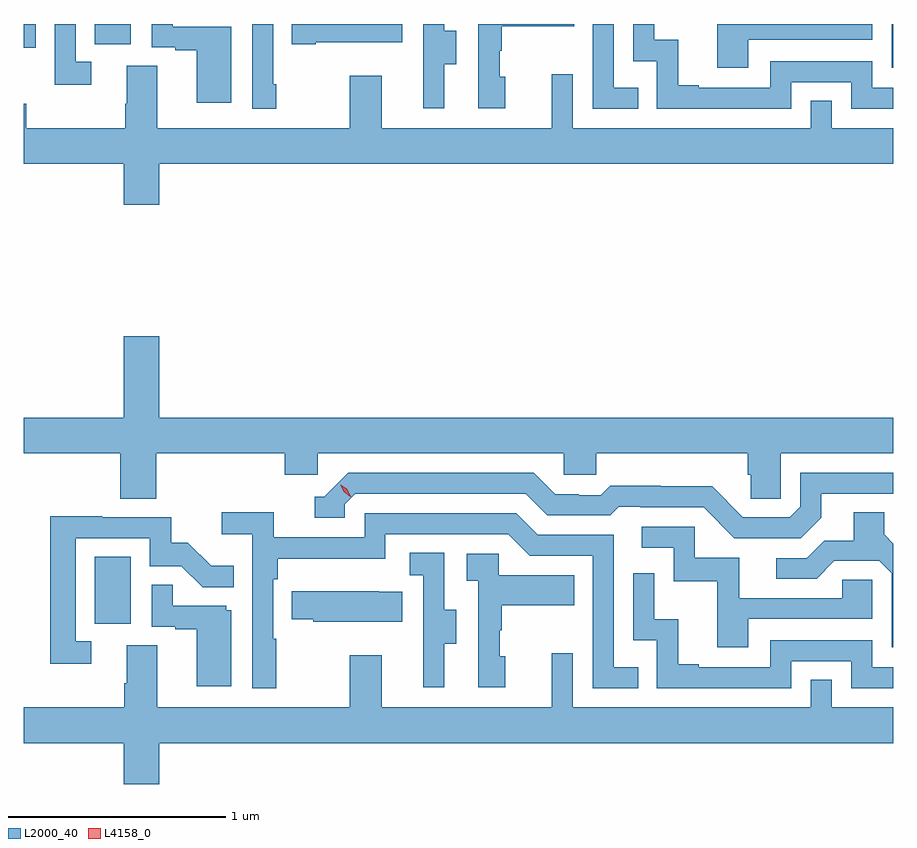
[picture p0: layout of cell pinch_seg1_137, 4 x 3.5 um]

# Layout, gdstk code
import gdstk
lib = gdstk.Library(unit=1e-6, precision=1e-09)
def R(c, l, rs):  # rectangles x0, y0, x1, y1
    for r in rs: c.add(gdstk.rectangle(r[:2], r[2:], *l))
def P(c, l, *ps):  # polygons
    for p in ps: c.add(gdstk.Polygon(p, *l))
L2000_40 = (2000, 40)
L4158_0 = (4158, 0)

pinch_seg1_137 = lib.new_cell('pinch_seg1_137')
R(pinch_seg1_137, L2000_40, [(1141.898,548.286,1142.062,548.593), (1145.562,550.842,1145.57,551.043), (1141.57,550.934,1141.627,551.043), (1141.898,550.95,1142.062,551.043)])
P(pinch_seg1_137, L2000_40, [(1143.505,550.858),(1143.559,550.858),(1143.559,551.013),(1143.504,551.013),(1143.504,551.043),(1143.408,551.043),(1143.408,550.869),(1143.407,550.869),(1143.407,550.656),(1143.505,550.656)],
  [(1142.914,550.958),(1143.311,550.958),(1143.311,551.043),(1142.803,551.043),(1142.803,550.951),(1142.914,550.951)],
  [(1144.397,550.749),(1144.284,550.749),(1144.284,551.043),(1144.188,551.043),(1144.188,550.653),(1144.397,550.653)],
  [(1142.731,550.765),(1142.718,550.765),(1142.718,551.043),(1142.622,551.043),(1142.622,550.653),(1142.731,550.653)],
  [(1144.903,550.971),(1145.472,550.971),(1145.472,551.043),(1144.759,551.043),(1144.759,550.842),(1144.903,550.842)],
  [(1143.784,550.8),(1143.759,550.8),(1143.759,550.919),(1143.769,550.919),(1143.769,551.033),(1144.103,551.033),(1144.103,551.043),(1143.66,551.043),(1143.66,550.656),(1143.784,550.656)],
  [(1142.524,551.031),(1142.255,551.031),(1142.255,551.043),(1142.16,551.043),(1142.16,550.935),(1142.267,550.935),(1142.267,550.923),(1142.366,550.923),(1142.366,550.68),(1142.524,550.68)],
  [(1145.1,550.776),(1145.376,550.776),(1145.376,550.653),(1145.57,550.653),(1145.57,550.749),(1145.472,550.749),(1145.472,550.872),(1145.004,550.872),(1145.004,550.749),(1144.675,550.749),(1144.675,550.762),(1144.58,550.762),(1144.58,550.97),(1144.47,550.97),(1144.47,551.043),(1144.374,551.043),(1144.374,550.872),(1144.482,550.872),(1144.482,550.653),(1145.1,550.653)],
  [(1141.882,550.869),(1141.809,550.869),(1141.809,551.043),(1141.713,551.043),(1141.713,550.764),(1141.882,550.764)],
  [(1142.194,550.4),(1145.57,550.4),(1145.57,550.564),(1145.286,550.564),(1145.286,550.691),(1145.19,550.691),(1145.19,550.564),(1144.095,550.564),(1144.095,550.813),(1143.998,550.813),(1143.998,550.564),(1143.217,550.564),(1143.217,550.804),(1143.07,550.804),(1143.07,550.564),(1142.185,550.564),(1142.185,550.85),(1142.045,550.85),(1142.045,550.676),(1142.038,550.676),(1142.038,550.564),(1141.582,550.564),(1141.582,550.676),(1141.57,550.676),(1141.57,550.4),(1142.03,550.4),(1142.03,550.212),(1142.194,550.212)],
  [(1142.18,549.068),(1142.771,549.068),(1142.771,548.97),(1142.922,548.97),(1142.922,549.068),(1144.053,549.068),(1144.053,548.97),(1144.203,548.97),(1144.203,549.068),(1144.901,549.068),(1144.901,548.97),(1144.915,548.97),(1144.915,548.86),(1145.052,548.86),(1145.052,549.068),(1145.57,549.068),(1145.57,549.232),(1142.194,549.232),(1142.194,549.607),(1142.03,549.607),(1142.03,549.232),(1141.57,549.232),(1141.57,549.068),(1142.015,549.068),(1142.015,548.86),(1142.18,548.86)],
  [(1145.239,548.773),(1145.239,548.883),(1145.57,548.883),(1145.57,548.979),(1145.142,548.979),(1145.142,548.823),(1145.094,548.775),(1144.878,548.775),(1144.736,548.917),(1144.5,548.917),(1144.5,548.92),(1144.267,548.92),(1144.225,548.877),(1144.122,548.877),(1144.122,548.88),(1144.015,548.88),(1143.916,548.979),(1143.063,548.979),(1142.952,548.868),(1142.909,548.868),(1142.909,548.772),(1143.048,548.772),(1143.048,548.835),(1143.096,548.883),(1143.879,548.883),(1143.978,548.784),(1144.267,548.784),(1144.306,548.823),(1144.405,548.823),(1144.405,548.82),(1144.698,548.82),(1144.839,548.679),(1145.145,548.679)],
  [(1145.57,548.653),(1145.527,548.696),(1145.527,548.798),(1145.387,548.798),(1145.387,548.666),(1145.252,548.666),(1145.172,548.586),(1145.031,548.586),(1145.031,548.493),(1145.218,548.493),(1145.299,548.574),(1145.505,548.574),(1145.562,548.517),(1145.562,548.178),(1145.57,548.178)],
  [(1142.731,548.216),(1142.718,548.216),(1142.718,548.489),(1142.738,548.489),(1142.738,548.585),(1143.234,548.585),(1143.234,548.697),(1143.798,548.697),(1143.897,548.598),(1144.188,548.598),(1144.188,547.989),(1144.397,547.989),(1144.397,548.085),(1144.284,548.085),(1144.284,548.694),(1143.934,548.694),(1143.835,548.793),(1143.138,548.793),(1143.138,548.682),(1142.72,548.682),(1142.72,548.798),(1142.481,548.798),(1142.481,548.696),(1142.622,548.696),(1142.622,547.989),(1142.731,547.989)],
  [(1141.882,548.205),(1141.809,548.205),(1141.809,548.679),(1142.151,548.679),(1142.151,548.55),(1142.295,548.55),(1142.393,548.452),(1142.537,548.452),(1142.537,548.551),(1142.433,548.551),(1142.326,548.658),(1142.25,548.658),(1142.25,548.775),(1141.931,548.775),(1141.931,548.78),(1141.693,548.78),(1141.693,548.1),(1141.882,548.1)],
  [(1144.903,548.307),(1145.472,548.307),(1145.472,548.487),(1145.335,548.487),(1145.335,548.403),(1144.861,548.403),(1144.861,548.589),(1144.656,548.589),(1144.656,548.73),(1144.413,548.73),(1144.413,548.634),(1144.56,548.634),(1144.56,548.481),(1144.759,548.481),(1144.759,548.178),(1144.903,548.178)],
  [(1143.505,548.194),(1143.559,548.194),(1143.559,548.349),(1143.504,548.349),(1143.504,548.612),(1143.345,548.612),(1143.345,548.509),(1143.408,548.509),(1143.408,548.205),(1143.407,548.205),(1143.407,547.992),(1143.505,547.992)],
  [(1143.784,548.136),(1143.759,548.136),(1143.759,548.255),(1143.769,548.255),(1143.769,548.369),(1144.103,548.369),(1144.103,548.509),(1143.756,548.509),(1143.756,548.607),(1143.609,548.607),(1143.609,548.483),(1143.66,548.483),(1143.66,547.992),(1143.784,547.992)],
  [(1145.1,548.112),(1145.376,548.112),(1145.376,547.989),(1145.57,547.989),(1145.57,548.085),(1145.472,548.085),(1145.472,548.208),(1145.004,548.208),(1145.004,548.085),(1144.675,548.085),(1144.675,548.098),(1144.58,548.098),(1144.58,548.306),(1144.47,548.306),(1144.47,548.518),(1144.374,548.518),(1144.374,548.208),(1144.482,548.208),(1144.482,547.989),(1145.1,547.989)],
  [(1142.524,548.346),(1142.502,548.346),(1142.502,548.367),(1142.255,548.367),(1142.255,548.465),(1142.16,548.465),(1142.16,548.271),(1142.267,548.271),(1142.267,548.259),(1142.366,548.259),(1142.366,547.998),(1142.524,547.998)],
  [(1143.311,548.431),(1143.203,548.431),(1143.203,548.434),(1142.803,548.434),(1142.803,548.305),(1142.901,548.305),(1142.901,548.294),(1143.311,548.294)],
  [(1142.194,547.736),(1145.57,547.736),(1145.57,547.9),(1145.286,547.9),(1145.286,548.027),(1145.19,548.027),(1145.19,547.9),(1144.095,547.9),(1144.095,548.149),(1143.998,548.149),(1143.998,547.9),(1143.217,547.9),(1143.217,548.14),(1143.07,548.14),(1143.07,547.9),(1142.185,547.9),(1142.185,548.186),(1142.045,548.186),(1142.045,548.012),(1142.033,548.012),(1142.033,547.9),(1141.57,547.9),(1141.57,547.736),(1142.03,547.736),(1142.03,547.548),(1142.194,547.548)])
P(pinch_seg1_137, L4158_0, [(1143.073,548.87),(1143.043,548.891),(1143.028,548.923),(1143.028,548.924),(1143.028,548.924),(1143.058,548.904),(1143.074,548.871),(1143.074,548.87)])

lib.write_gds('pinch_seg1_137.gds')
